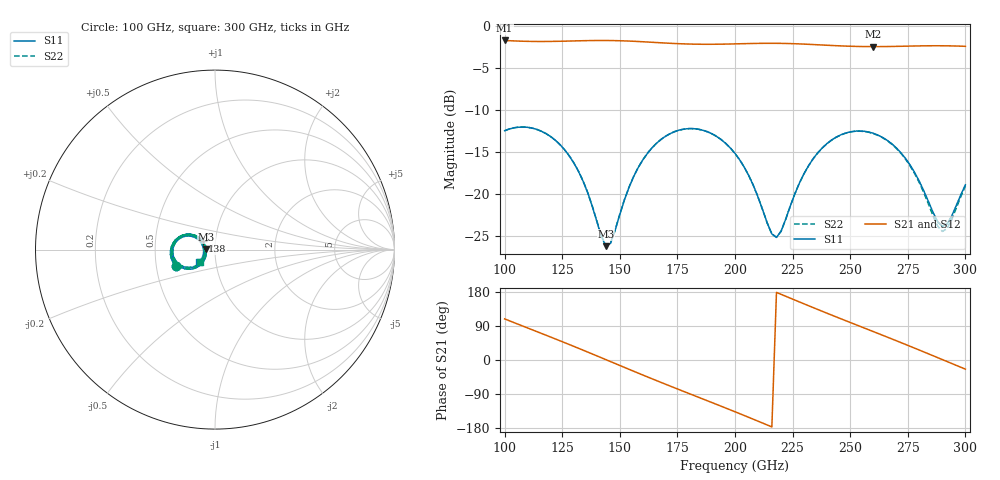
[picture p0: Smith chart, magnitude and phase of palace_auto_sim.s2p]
#  GHZ S DB R 50
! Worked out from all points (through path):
!   101 points, 100 GHz to 300 GHz, reference 50 ohm
!   highest |S21| = -1.76 dB at 100 GHz (marker M1); lowest = -2.5 dB at 260 GHz (marker M2)
!   group delay of S21, straight-line fit = 6.84 ps
!   lowest |S11| = -26.3 dB at 144 GHz (marker M3), VSWR 1.10, Z = 45.4 + j0.0948 ohm
!   |S11| at or under -10 dB: start of sweep to end of sweep
!   |S22| runs from -26.2 to -12.1 dB; largest |S21 - S12| = 9.3e-14
!   S11 on the Smith chart (normalised r, x): 100 GHz: 0.63, -0.12; 138 GHz: 0.87, +0.09; 300 GHz: 0.83, -0.12
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100  -12.51 -157.4  -1.76 108.5  -1.76 108.5  -12.50 -157.6
108  -12.06 -173.6  -1.85 89.3  -1.85 89.3  -12.06 -173.7
116  -12.57 170.5  -1.88 70.1  -1.88 70.1  -12.57 170.4
126  -14.76 152.4  -1.84 45.9  -1.84 45.9  -14.75 152.3
134  -18.48 143.0  -1.79 26.1  -1.79 26.1  -18.46 143.0
138  -21.46 144.7  -1.77 16.1  -1.77 16.1  -21.42 144.9
144  -26.26 178.8  -1.76 0.8  -1.76 0.8  -26.16 178.7
146  -25.91 -161.0  -1.77 -4.2  -1.77 -4.2  -25.82 -161.4
158  -16.89 -135.8  -1.88 -34.6  -1.88 -34.6  -16.88 -136.2
168  -13.52 -151.3  -2.04 -59.4  -2.04 -59.4  -13.52 -151.5
184  -12.32 178.6  -2.20 -98.0  -2.20 -98.0  -12.32 178.3
200  -15.21 150.9  -2.16 -136.6  -2.16 -136.6  -15.21 150.6
210  -20.40 145.6  -2.10 -161.4  -2.10 -161.4  -20.41 145.3
218  -25.21 -174.1  -2.10 178.4  -2.10 178.4  -25.21 -174.4
226  -20.01 -138.5  -2.15 158.1  -2.15 158.1  -20.01 -138.9
234  -15.81 -142.5  -2.24 138.1  -2.24 138.1  -15.82 -142.9
246  -12.99 -161.6  -2.40 108.7  -2.40 108.7  -13.01 -162.1
260  -12.81 173.4  -2.49 75.1  -2.49 75.1  -12.84 172.6
268  -14.05 160.1  -2.47 55.8  -2.47 55.8  -14.10 159.0
280  -18.53 148.8  -2.40 26.2  -2.40 26.2  -18.70 147.0
290  -23.90 -178.8  -2.39 1.1  -2.39 1.1  -24.50 -179.0
300  -18.94 -141.6  -2.46 -24.1  -2.46 -24.1  -19.11 -140.0
